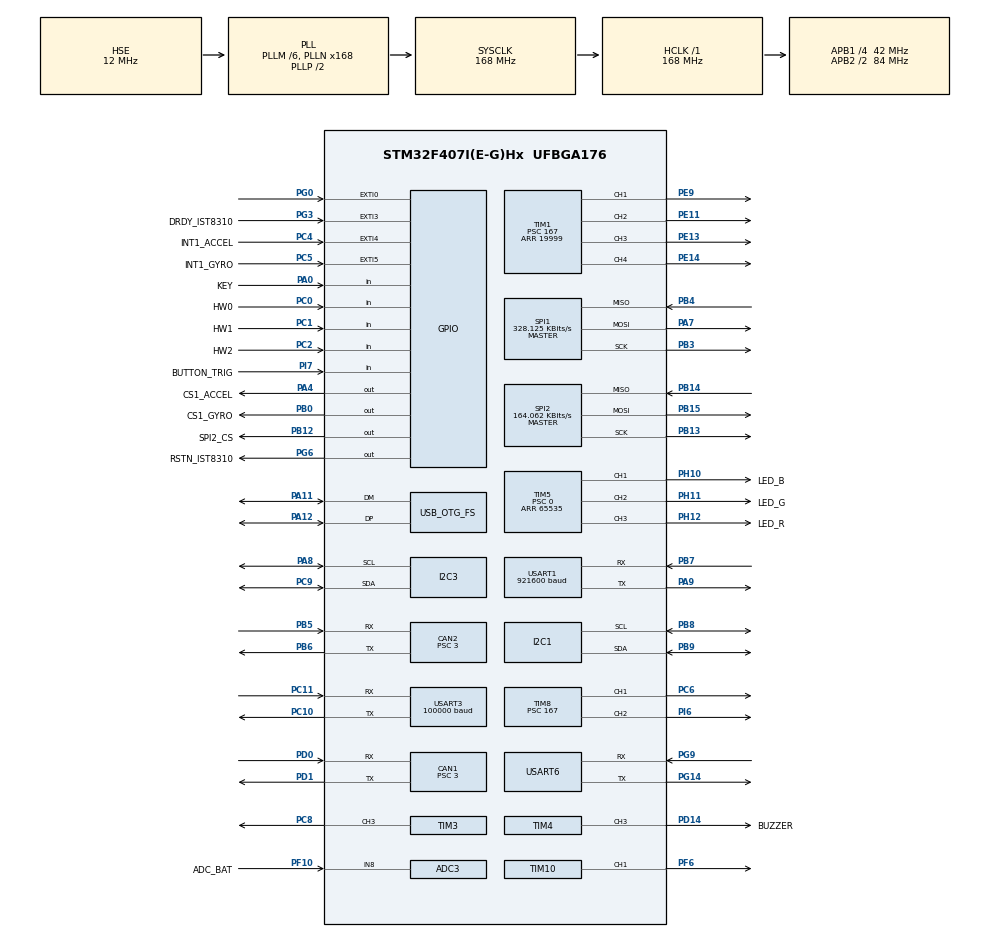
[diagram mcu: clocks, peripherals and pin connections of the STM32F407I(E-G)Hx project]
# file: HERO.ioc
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ADC1.Channel-0\#ChannelRegularConversion=ADC_CHANNEL_TEMPSENSOR
ADC1.ClockPrescaler=ADC_CLOCK_SYNC_PCLK_DIV6
ADC1.NbrOfConversionFlag=1
ADC1.Rank-0\#ChannelRegularConversion=1
ADC1.SamplingTime-0\#ChannelRegularConversion=ADC_SAMPLETIME_3CYCLES
ADC1.master=1
ADC3.Channel-0\#ChannelRegularConversion=ADC_CHANNEL_8
ADC3.ClockPrescaler=ADC_CLOCK_SYNC_PCLK_DIV6
ADC3.NbrOfConversionFlag=1
ADC3.Rank-0\#ChannelRegularConversion=1
ADC3.SamplingTime-0\#ChannelRegularConversion=ADC_SAMPLETIME_3CYCLES
CAN1.BS1=CAN_BS1_10TQ
CAN1.BS2=CAN_BS2_3TQ
CAN1.CalculateBaudRate=1000000
CAN1.CalculateTimeQuantum=71.42857142857143
CAN1.Prescaler=3
CAN2.BS1=CAN_BS1_10TQ
CAN2.BS2=CAN_BS2_3TQ
CAN2.CalculateBaudRate=1000000
CAN2.CalculateTimeQuantum=71.42857142857143
CAN2.Prescaler=3
Dma.Request0=SPI1_RX
Dma.Request1=SPI1_TX
Dma.Request2=USART3_RX
Dma.Request3=USART6_RX
Dma.Request4=USART6_TX
Dma.Request5=USART1_TX
Dma.Request6=USART1_RX
Dma.Request7=SPI2_RX
Dma.Request8=SPI2_TX
Dma.Request9=TIM4_CH3
Dma.SPI1_RX.0.Direction=DMA_PERIPH_TO_MEMORY
Dma.SPI1_RX.0.FIFOMode=DMA_FIFOMODE_DISABLE
Dma.SPI1_RX.0.Instance=DMA2_Stream2
Dma.SPI1_RX.0.MemDataAlignment=DMA_MDATAALIGN_BYTE
Dma.SPI1_RX.0.MemInc=DMA_MINC_ENABLE
Dma.SPI1_RX.0.Mode=DMA_NORMAL
Dma.SPI1_RX.0.PeriphDataAlignment=DMA_PDATAALIGN_BYTE
Dma.SPI1_RX.0.PeriphInc=DMA_PINC_DISABLE
Dma.SPI1_RX.0.Priority=DMA_PRIORITY_VERY_HIGH
Dma.SPI1_TX.1.Direction=DMA_MEMORY_TO_PERIPH
Dma.SPI1_TX.1.FIFOMode=DMA_FIFOMODE_DISABLE
Dma.SPI1_TX.1.Instance=DMA2_Stream3
Dma.SPI1_TX.1.MemDataAlignment=DMA_MDATAALIGN_BYTE
Dma.SPI1_TX.1.MemInc=DMA_MINC_ENABLE
Dma.SPI1_TX.1.Mode=DMA_NORMAL
Dma.SPI1_TX.1.PeriphDataAlignment=DMA_PDATAALIGN_BYTE
Dma.SPI1_TX.1.PeriphInc=DMA_PINC_DISABLE
Dma.SPI1_TX.1.Priority=DMA_PRIORITY_HIGH
Dma.SPI2_RX.7.Direction=DMA_PERIPH_TO_MEMORY
Dma.SPI2_RX.7.FIFOMode=DMA_FIFOMODE_DISABLE
Dma.SPI2_RX.7.Instance=DMA1_Stream3
Dma.SPI2_RX.7.MemDataAlignment=DMA_MDATAALIGN_BYTE
Dma.SPI2_RX.7.MemInc=DMA_MINC_ENABLE
Dma.SPI2_RX.7.Mode=DMA_NORMAL
Dma.SPI2_RX.7.PeriphDataAlignment=DMA_PDATAALIGN_BYTE
Dma.SPI2_RX.7.PeriphInc=DMA_PINC_DISABLE
Dma.SPI2_RX.7.Priority=DMA_PRIORITY_HIGH
Dma.SPI2_TX.8.Direction=DMA_MEMORY_TO_PERIPH
Dma.SPI2_TX.8.FIFOMode=DMA_FIFOMODE_DISABLE
Dma.SPI2_TX.8.Instance=DMA1_Stream4
Dma.SPI2_TX.8.MemDataAlignment=DMA_MDATAALIGN_BYTE
Dma.SPI2_TX.8.MemInc=DMA_MINC_ENABLE
Dma.SPI2_TX.8.Mode=DMA_NORMAL
Dma.SPI2_TX.8.PeriphDataAlignment=DMA_PDATAALIGN_BYTE
Dma.SPI2_TX.8.PeriphInc=DMA_PINC_DISABLE
Dma.SPI2_TX.8.Priority=DMA_PRIORITY_HIGH
Dma.TIM4_CH3.9.Direction=DMA_MEMORY_TO_PERIPH
Dma.TIM4_CH3.9.FIFOMode=DMA_FIFOMODE_DISABLE
Dma.TIM4_CH3.9.Instance=DMA1_Stream7
Dma.TIM4_CH3.9.MemDataAlignment=DMA_MDATAALIGN_HALFWORD
Dma.TIM4_CH3.9.MemInc=DMA_MINC_ENABLE
Dma.TIM4_CH3.9.Mode=DMA_CIRCULAR
Dma.TIM4_CH3.9.PeriphDataAlignment=DMA_PDATAALIGN_HALFWORD
Dma.TIM4_CH3.9.PeriphInc=DMA_PINC_DISABLE
Dma.TIM4_CH3.9.Priority=DMA_PRIORITY_HIGH
Dma.USART1_RX.6.Direction=DMA_PERIPH_TO_MEMORY
Dma.USART1_RX.6.FIFOMode=DMA_FIFOMODE_DISABLE
Dma.USART1_RX.6.Instance=DMA2_Stream5
Dma.USART1_RX.6.MemDataAlignment=DMA_MDATAALIGN_BYTE
Dma.USART1_RX.6.MemInc=DMA_MINC_ENABLE
Dma.USART1_RX.6.Mode=DMA_NORMAL
Dma.USART1_RX.6.PeriphDataAlignment=DMA_PDATAALIGN_BYTE
Dma.USART1_RX.6.PeriphInc=DMA_PINC_DISABLE
Dma.USART1_RX.6.Priority=DMA_PRIORITY_MEDIUM
Dma.USART1_TX.5.Direction=DMA_MEMORY_TO_PERIPH
Dma.USART1_TX.5.FIFOMode=DMA_FIFOMODE_DISABLE
Dma.USART1_TX.5.Instance=DMA2_Stream7
Dma.USART1_TX.5.MemDataAlignment=DMA_MDATAALIGN_BYTE
Dma.USART1_TX.5.MemInc=DMA_MINC_ENABLE
Dma.USART1_TX.5.Mode=DMA_NORMAL
Dma.USART1_TX.5.PeriphDataAlignment=DMA_PDATAALIGN_BYTE
Dma.USART1_TX.5.PeriphInc=DMA_PINC_DISABLE
Dma.USART1_TX.5.Priority=DMA_PRIORITY_MEDIUM
Dma.USART3_RX.2.Direction=DMA_PERIPH_TO_MEMORY
Dma.USART3_RX.2.FIFOMode=DMA_FIFOMODE_DISABLE
Dma.USART3_RX.2.Instance=DMA1_Stream1
Dma.USART3_RX.2.MemDataAlignment=DMA_MDATAALIGN_BYTE
Dma.USART3_RX.2.MemInc=DMA_MINC_ENABLE
Dma.USART3_RX.2.Mode=DMA_NORMAL
Dma.USART3_RX.2.PeriphDataAlignment=DMA_PDATAALIGN_BYTE
Dma.USART3_RX.2.PeriphInc=DMA_PINC_DISABLE
Dma.USART3_RX.2.Priority=DMA_PRIORITY_HIGH
Dma.USART6_RX.3.Direction=DMA_PERIPH_TO_MEMORY
Dma.USART6_RX.3.FIFOMode=DMA_FIFOMODE_DISABLE
Dma.USART6_RX.3.Instance=DMA2_Stream1
Dma.USART6_RX.3.MemDataAlignment=DMA_MDATAALIGN_BYTE
Dma.USART6_RX.3.MemInc=DMA_MINC_ENABLE
Dma.USART6_RX.3.Mode=DMA_NORMAL
Dma.USART6_RX.3.PeriphDataAlignment=DMA_PDATAALIGN_BYTE
Dma.USART6_RX.3.PeriphInc=DMA_PINC_DISABLE
Dma.USART6_RX.3.Priority=DMA_PRIORITY_HIGH
Dma.USART6_TX.4.Direction=DMA_MEMORY_TO_PERIPH
Dma.USART6_TX.4.FIFOMode=DMA_FIFOMODE_DISABLE
Dma.USART6_TX.4.Instance=DMA2_Stream6
Dma.USART6_TX.4.MemDataAlignment=DMA_MDATAALIGN_BYTE
Dma.USART6_TX.4.MemInc=DMA_MINC_ENABLE
Dma.USART6_TX.4.Mode=DMA_NORMAL
Dma.USART6_TX.4.PeriphDataAlignment=DMA_PDATAALIGN_BYTE
Dma.USART6_TX.4.PeriphInc=DMA_PINC_DISABLE
Dma.USART6_TX.4.Priority=DMA_PRIORITY_MEDIUM
FREERTOS.INCLUDE_eTaskGetState=1
FREERTOS.INCLUDE_pcTaskGetTaskName=1
FREERTOS.INCLUDE_uxTaskGetStackHighWaterMark=1
FREERTOS.INCLUDE_vTaskCleanUpResources=1
FREERTOS.INCLUDE_vTaskDelayUntil=1
FREERTOS.INCLUDE_xEventGroupSetBitFromISR=1
FREERTOS.INCLUDE_xQueueGetMutexHolder=1
FREERTOS.INCLUDE_xSemaphoreGetMutexHolder=1
FREERTOS.INCLUDE_xTaskAbortDelay=1
FREERTOS.INCLUDE_xTaskGetCurrentTaskHandle=1
FREERTOS.INCLUDE_xTaskGetHandle=1
FREERTOS.INCLUDE_xTimerPendFunctionCall=1
FREERTOS.Tasks01=test,24,128,test_task,As weak,NULL,Dynamic,NULL,NULL
FREERTOS.configTOTAL_HEAP_SIZE=40960
I2C1.I2C_Mode=I2C_Fast
I2C3.I2C_Mode=I2C_Fast
Mcu.Family=STM32F4
Mcu.Name=STM32F407I(E-G)Hx
Mcu.Package=UFBGA176
NVIC.CAN1_RX0_IRQn=true\:6\:0\:true\:false\:true\:true\:true\:true\:true
NVIC.CAN2_RX0_IRQn=true\:6\:0\:true\:false\:true\:true\:true\:true\:true
NVIC.DMA1_Stream1_IRQn=true\:5\:0\:true\:false\:false\:true\:false\:false\:true
NVIC.DMA1_Stream3_IRQn=true\:5\:0\:true\:false\:false\:true\:false\:true\:true
NVIC.DMA1_Stream4_IRQn=true\:5\:0\:true\:false\:false\:true\:false\:true\:true
NVIC.DMA1_Stream7_IRQn=true\:5\:0\:true\:false\:false\:true\:false\:true\:true
NVIC.DMA2_Stream1_IRQn=true\:5\:0\:true\:false\:true\:true\:false\:true\:true
NVIC.DMA2_Stream2_IRQn=true\:5\:0\:true\:false\:false\:true\:false\:true\:true
NVIC.DMA2_Stream3_IRQn=true\:5\:0\:true\:false\:false\:true\:false\:true\:true
NVIC.DMA2_Stream5_IRQn=true\:5\:0\:false\:false\:true\:true\:false\:true\:true
NVIC.DMA2_Stream6_IRQn=true\:5\:0\:true\:false\:true\:true\:false\:true\:true
NVIC.DMA2_Stream7_IRQn=true\:5\:0\:true\:false\:true\:true\:false\:true\:true
NVIC.EXTI0_IRQn=true\:6\:0\:true\:false\:true\:true\:true\:true\:true
NVIC.EXTI3_IRQn=true\:5\:0\:true\:false\:true\:true\:true\:true\:true
NVIC.EXTI4_IRQn=true\:5\:0\:true\:false\:true\:true\:true\:true\:true
NVIC.EXTI9_5_IRQn=true\:5\:0\:true\:false\:true\:true\:true\:true\:true
NVIC.OTG_FS_IRQn=true\:5\:0\:false\:false\:true\:true\:false\:true\:true
NVIC.PriorityGroup=NVIC_PRIORITYGROUP_4
NVIC.TIM6_DAC_IRQn=true\:15\:0\:false\:false\:true\:false\:false\:true\:true
NVIC.TimeBase=TIM6_DAC_IRQn
NVIC.TimeBaseIP=TIM6
NVIC.USART1_IRQn=true\:5\:0\:false\:false\:true\:true\:true\:true\:true
NVIC.USART3_IRQn=true\:4\:0\:true\:false\:false\:false\:true\:true\:true
NVIC.USART6_IRQn=true\:5\:0\:true\:false\:false\:true\:true\:true\:true
PA0-WKUP.GPIO_Label=KEY
PA0-WKUP.GPIO_PuPd=GPIO_PULLUP
PA0-WKUP.Signal=GPIO_Input
PA11.Mode=Device_Only
PA11.Signal=USB_OTG_FS_DM
PA12.Mode=Device_Only
PA12.Signal=USB_OTG_FS_DP
PA13.Mode=Serial_Wire
PA13.Signal=SYS_JTMS-SWDIO
PA14.Mode=Serial_Wire
PA14.Signal=SYS_JTCK-SWCLK
PA4.GPIO_Label=CS1_ACCEL
PA4.GPIO_PuPd=GPIO_PULLUP
PA4.GPIO_Speed=GPIO_SPEED_FREQ_HIGH
PA4.PinState=GPIO_PIN_SET
PA4.Signal=GPIO_Output
PA7.GPIO_PuPd=GPIO_PULLUP
PA7.Mode=Full_Duplex_Master
PA7.Signal=SPI1_MOSI
PA8.GPIO_Pu=GPIO_PULLUP
PA8.Mode=I2C
PA8.Signal=I2C3_SCL
PA9.Mode=Asynchronous
PA9.Signal=USART1_TX
PB0.GPIO_Label=CS1_GYRO
PB0.GPIO_PuPd=GPIO_PULLUP
PB0.GPIO_Speed=GPIO_SPEED_FREQ_HIGH
PB0.PinState=GPIO_PIN_SET
PB0.Signal=GPIO_Output
PB12.GPIO_Label=SPI2_CS
PB12.GPIO_PuPd=GPIO_PULLUP
PB12.GPIO_Speed=GPIO_SPEED_FREQ_MEDIUM
PB12.PinState=GPIO_PIN_SET
PB12.Signal=GPIO_Output
PB13.GPIO_PuPd=GPIO_PULLUP
PB13.Mode=Full_Duplex_Master
PB13.Signal=SPI2_SCK
PB14.GPIO_PuPd=GPIO_PULLUP
PB14.Mode=Full_Duplex_Master
PB14.Signal=SPI2_MISO
PB15.GPIO_PuPd=GPIO_PULLUP
PB15.Mode=Full_Duplex_Master
PB15.Signal=SPI2_MOSI
PB3.GPIO_PuPd=GPIO_PULLUP
PB3.Mode=Full_Duplex_Master
PB3.Signal=SPI1_SCK
PB4.GPIO_PuPd=GPIO_PULLUP
PB4.Mode=Full_Duplex_Master
PB4.Signal=SPI1_MISO
PB5.Mode=CAN_Activate
PB5.Signal=CAN2_RX
PB6.Mode=CAN_Activate
PB6.Signal=CAN2_TX
PB7.Mode=Asynchronous
PB7.Signal=USART1_RX
PB8.GPIO_Pu=GPIO_PULLUP
PB8.Mode=I2C
PB8.Signal=I2C1_SCL
PB9.GPIO_Pu=GPIO_PULLUP
PB9.Mode=I2C
PB9.Signal=I2C1_SDA
PC0.GPIO_Label=HW0
PC0.Signal=GPIO_Input
PC1.GPIO_Label=HW1
PC1.Signal=GPIO_Input
PC10.Mode=Asynchronous
PC10.Signal=USART3_TX
PC11.Mode=Asynchronous
PC11.Signal=USART3_RX
PC2.GPIO_Label=HW2
PC2.Signal=GPIO_Input
PC4.GPIO_Label=INT1_ACCEL
PC4.GPIO_ModeDefaultEXTI=GPIO_MODE_IT_FALLING
PC4.GPIO_PuPd=GPIO_PULLUP
PC4.Signal=GPXTI4
PC5.GPIO_Label=INT1_GYRO
PC5.GPIO_ModeDefaultEXTI=GPIO_MODE_IT_FALLING
PC5.GPIO_PuPd=GPIO_PULLUP
PC5.Signal=GPXTI5
PC6.GPIO_PuPd=GPIO_PULLUP
PC6.GPIO_Speed=GPIO_SPEED_FREQ_HIGH
PC6.Signal=S_TIM8_CH1
PC8.GPIO_PuPd=GPIO_PULLUP
PC8.GPIO_Speed=GPIO_SPEED_FREQ_HIGH
PC8.Signal=S_TIM3_CH3
PC9.GPIO_Pu=GPIO_PULLUP
PC9.Mode=I2C
PC9.Signal=I2C3_SDA
PD0.Mode=CAN_Activate
PD0.Signal=CAN1_RX
PD1.Mode=CAN_Activate
PD1.Signal=CAN1_TX
PD14.GPIO_Label=BUZZER
PD14.GPIO_PuPd=GPIO_PULLUP
PD14.GPIO_Speed=GPIO_SPEED_FREQ_VERY_HIGH
PD14.Signal=S_TIM4_CH3
PE11.GPIO_PuPd=GPIO_PULLUP
PE11.GPIO_Speed=GPIO_SPEED_FREQ_HIGH
PE11.Signal=S_TIM1_CH2
PE13.GPIO_PuPd=GPIO_PULLUP
PE13.GPIO_Speed=GPIO_SPEED_FREQ_HIGH
PE13.Signal=S_TIM1_CH3
PE14.GPIO_PuPd=GPIO_PULLUP
PE14.GPIO_Speed=GPIO_SPEED_FREQ_HIGH
PE14.Signal=S_TIM1_CH4
PE9.GPIO_PuPd=GPIO_PULLUP
PE9.GPIO_Speed=GPIO_SPEED_FREQ_HIGH
PE9.Signal=S_TIM1_CH1
PF10.GPIO_Label=ADC_BAT
PF10.Mode=IN8
PF10.Signal=ADC3_IN8
PF6.GPIO_PuPd=GPIO_PULLUP
PF6.GPIO_Speed=GPIO_SPEED_FREQ_HIGH
PF6.Signal=S_TIM10_CH1
PG0.GPIO_ModeDefaultEXTI=GPIO_MODE_IT_FALLING
PG0.GPIO_PuPd=GPIO_PULLUP
PG0.Signal=GPXTI0
PG14.Mode=Asynchronous
PG14.Signal=USART6_TX
PG3.GPIO_Label=DRDY_IST8310
PG3.GPIO_ModeDefaultEXTI=GPIO_MODE_IT_FALLING
PG3.GPIO_PuPd=GPIO_PULLUP
PG3.Signal=GPXTI3
PG6.GPIO_Label=RSTN_IST8310
PG6.GPIO_PuPd=GPIO_PULLUP
PG6.GPIO_Speed=GPIO_SPEED_FREQ_MEDIUM
PG6.PinState=GPIO_PIN_SET
PG6.Signal=GPIO_Output
PG9.Mode=Asynchronous
PG9.Signal=USART6_RX
PH0-OSC_IN.Mode=HSE-External-Oscillator
PH0-OSC_IN.Signal=RCC_OSC_IN
PH1-OSC_OUT.Mode=HSE-External-Oscillator
PH1-OSC_OUT.Signal=RCC_OSC_OUT
PH10.GPIO_Label=LED_B
PH10.GPIO_PuPd=GPIO_PULLUP
PH10.GPIO_Speed=GPIO_SPEED_FREQ_HIGH
PH10.Signal=S_TIM5_CH1
PH11.GPIO_Label=LED_G
PH11.GPIO_PuPd=GPIO_PULLUP
PH11.GPIO_Speed=GPIO_SPEED_FREQ_HIGH
PH11.Signal=S_TIM5_CH2
PH12.GPIO_Label=LED_R
PH12.GPIO_PuPd=GPIO_PULLUP
PH12.GPIO_Speed=GPIO_SPEED_FREQ_HIGH
PH12.Signal=S_TIM5_CH3
PI6.GPIO_PuPd=GPIO_PULLUP
PI6.GPIO_Speed=GPIO_SPEED_FREQ_HIGH
PI6.Signal=S_TIM8_CH2
PI7.GPIO_Label=BUTTON_TRIG
PI7.GPIO_PuPd=GPIO_PULLUP
PI7.Signal=GPIO_Input
ProjectManager.HeapSize=0x2000
ProjectManager.StackSize=0x2000
ProjectManager.TargetToolchain=MDK-ARM V5
RCC.48MHZClocksFreq_Value=48000000
RCC.AHBFreq_Value=168000000
RCC.APB1CLKDivider=RCC_HCLK_DIV4
RCC.APB1Freq_Value=42000000
RCC.APB1TimFreq_Value=84000000
RCC.APB2CLKDivider=RCC_HCLK_DIV2
RCC.APB2Freq_Value=84000000
RCC.APB2TimFreq_Value=168000000
RCC.CortexFreq_Value=168000000
RCC.HCLKFreq_Value=168000000
RCC.HSE_VALUE=12000000
RCC.HSI_VALUE=16000000
RCC.LSE_VALUE=32768
RCC.PLLM=6
RCC.PLLN=168
RCC.PLLQ=7
RCC.SYSCLKFreq_VALUE=168000000
RCC.SYSCLKSource=RCC_SYSCLKSOURCE_PLLCLK
RCC.VCOOutputFreq_Value=336000000
SH.S_TIM10_CH1.0=TIM10_CH1,PWM Generation1 CH1
SH.S_TIM1_CH1.0=TIM1_CH1,PWM Generation1 CH1
SH.S_TIM1_CH2.0=TIM1_CH2,PWM Generation2 CH2
SH.S_TIM1_CH3.0=TIM1_CH3,PWM Generation3 CH3
SH.S_TIM1_CH4.0=TIM1_CH4,PWM Generation4 CH4
SH.S_TIM3_CH3.0=TIM3_CH3,PWM Generation3 CH3
SH.S_TIM4_CH3.0=TIM4_CH3,PWM Generation3 CH3
SH.S_TIM5_CH1.0=TIM5_CH1,PWM Generation1 CH1
SH.S_TIM5_CH2.0=TIM5_CH2,PWM Generation2 CH2
SH.S_TIM5_CH3.0=TIM5_CH3,PWM Generation3 CH3
SH.S_TIM8_CH1.0=TIM8_CH1,PWM Generation1 CH1
SH.S_TIM8_CH2.0=TIM8_CH2,PWM Generation2 CH2
SPI1.BaudRatePrescaler=SPI_BAUDRATEPRESCALER_256
SPI1.CLKPhase=SPI_PHASE_2EDGE
SPI1.CLKPolarity=SPI_POLARITY_HIGH
SPI1.CalculateBaudRate=328.125 KBits/s
SPI1.Direction=SPI_DIRECTION_2LINES
SPI1.Mode=SPI_MODE_MASTER
SPI1.VirtualType=VM_MASTER
SPI2.BaudRatePrescaler=SPI_BAUDRATEPRESCALER_256
SPI2.CLKPhase=SPI_PHASE_1EDGE
SPI2.CLKPolarity=SPI_POLARITY_LOW
SPI2.CalculateBaudRate=164.062 KBits/s
SPI2.Direction=SPI_DIRECTION_2LINES
SPI2.Mode=SPI_MODE_MASTER
SPI2.VirtualType=VM_MASTER
TIM1.Channel-PWM\ Generation1\ CH1=TIM_CHANNEL_1
TIM1.Channel-PWM\ Generation2\ CH2=TIM_CHANNEL_2
TIM1.Channel-PWM\ Generation3\ CH3=TIM_CHANNEL_3
TIM1.Channel-PWM\ Generation4\ CH4=TIM_CHANNEL_4
TIM1.Period=19999
TIM1.Prescaler=167
TIM1.Pulse-PWM\ Generation1\ CH1=1000
TIM1.Pulse-PWM\ Generation2\ CH2=1000
TIM1.Pulse-PWM\ Generation3\ CH3=1000
TIM1.Pulse-PWM\ Generation4\ CH4=1000
TIM10.Channel=TIM_CHANNEL_1
TIM10.Period=4999
TIM3.Channel-PWM\ Generation3\ CH3=TIM_CHANNEL_3
TIM3.Period=8399
TIM4.Channel-PWM\ Generation3\ CH3=TIM_CHANNEL_3
TIM4.Period=20999
TIM4.Prescaler=0
TIM5.Channel-PWM\ Generation1\ CH1=TIM_CHANNEL_1
TIM5.Channel-PWM\ Generation2\ CH2=TIM_CHANNEL_2
TIM5.Channel-PWM\ Generation3\ CH3=TIM_CHANNEL_3
TIM5.Period=65535
TIM5.Prescaler=0
TIM8.Channel-PWM\ Generation1\ CH1=TIM_CHANNEL_1
TIM8.Channel-PWM\ Generation2\ CH2=TIM_CHANNEL_2
TIM8.Period=19999
TIM8.Prescaler=167
TIM8.Pulse-PWM\ Generation1\ CH1=1000
TIM8.Pulse-PWM\ Generation2\ CH2=1000
USART1.BaudRate=921600
USART1.VirtualMode=VM_ASYNC
USART3.BaudRate=100000
USART3.Parity=PARITY_EVEN
USART3.VirtualMode=VM_ASYNC
USART6.VirtualMode=VM_ASYNC
USB_DEVICE.CLASS_NAME_FS=CDC
USB_DEVICE.VirtualMode-CDC_FS=Cdc
USB_DEVICE.VirtualModeFS=Cdc_FS
USB_OTG_FS.VirtualMode=Device_Only
VP_ADC1_TempSens_Input.Mode=IN-TempSens
VP_ADC1_Vref_Input.Mode=IN-Vrefint
VP_CRC_VS_CRC.Mode=CRC_Activate
VP_FREERTOS_VS_CMSIS_V1.Mode=CMSIS_V1
VP_SYS_VS_tim6.Mode=TIM6
VP_TIM10_VS_ClockSourceINT.Mode=Enable_Timer
VP_TIM1_VS_ClockSourceINT.Mode=Internal
VP_TIM3_VS_ClockSourceINT.Mode=Internal
VP_TIM4_VS_ClockSourceINT.Mode=Internal
VP_TIM5_VS_ClockSourceINT.Mode=Internal
VP_TIM8_VS_ClockSourceINT.Mode=Internal
VP_USB_DEVICE_VS_USB_DEVICE_CDC_FS.Mode=CDC_FS
board=custom

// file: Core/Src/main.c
/* USER CODE BEGIN Header */
/**
  ******************************************************************************
  * @file           : main.c
  * @brief          : Main program body
  ******************************************************************************
  * @attention
  *
  * <h2><center>&copy; Copyright (c) 2019 STMicroelectronics.
  * All rights reserved.</center></h2>
  *
  * This software component is licensed by ST under Ultimate Liberty license
  * SLA0044, the "License"; You may not use this file except in compliance with
  * the License. You may obtain a copy of the License at:
  *                             www.st.com/SLA0044
  *
  ******************************************************************************
  */
/* USER CODE END Header */
#include "main.h"
#include "cmsis_os.h"
#include "adc.h"
#include "can.h"
#include "crc.h"
#include "dma.h"
#include "i2c.h"
#include "spi.h"
#include "tim.h"
#include "usart.h"
#include "usb_device.h"
#include "gpio.h"

/* USER CODE BEGIN Includes */
#include "bsp_can.h"
#include "bsp_delay.h"
#include "bsp_buzzer.h"
#include "bsp_usart.h"
#include "config.h"
#include "manual_input.h"

#include "calibrate_task.h"
#include "chassis_control_task.h"
#include "detect_task.h"
#include "gimbal_control_task.h"
#include "INS_task.h"
#include "status_led_task.h"
#include "referee_rx_task.h"
#include "host_link_task.h"
#include "battery_monitor_task.h"
/* USER CODE END Includes */

void SystemClock_Config(void);
void MX_FREERTOS_Init(void);

int main(void)
{

  /* MCU Configuration--------------------------------------------------------*/

  /* Reset of all peripherals, Initializes the Flash interface and the Systick. */
  HAL_Init();

  /* Configure the system clock */
  SystemClock_Config();

  /* Initialize all configured peripherals */
  MX_GPIO_Init();
  MX_DMA_Init();
  MX_ADC1_Init();
  MX_ADC3_Init();
  MX_CAN1_Init();
  MX_CAN2_Init();
  MX_I2C1_Init();
  MX_SPI1_Init();
  MX_TIM4_Init();
  MX_TIM5_Init();
  MX_USART3_UART_Init();
  MX_TIM8_Init();
  MX_CRC_Init();
  MX_I2C3_Init();
  MX_SPI2_Init();
  MX_TIM1_Init();
  MX_TIM3_Init();
  MX_TIM10_Init();
  MX_USART1_UART_Init();
  MX_USART6_UART_Init();
  /* USER CODE BEGIN 2 */
    can_filter_init();
    delay_init();
    cali_param_init();
    // Apply runtime config for BSP modules (BSP must not depend on g_config).
    buzzer_set_enable(g_config.buzzer.enable);
    buzzer_pcm_set_carrier_min_hz(g_config.buzzer.pcm.carrier_min_hz);
    buzzer_pcm_set_stream_gain_q8(g_config.buzzer.pcm.gain_q8);
    remote_control_init();
    usart1_tx_dma_init();
  /* USER CODE END 2 */

  /* Call init function for freertos objects (in cmsis_os2.c) */
  MX_FREERTOS_Init();

  /* Start scheduler */
  osKernelStart();

  /* We should never get here as control is now taken by the scheduler */

  /* Infinite loop */
  while (1)
  {

  }
}

void SystemClock_Config(void)
{
  RCC_OscInitTypeDef RCC_OscInitStruct = {0};
  RCC_ClkInitTypeDef RCC_ClkInitStruct = {0};

  /** Configure the main internal regulator output voltage
  */
  __HAL_RCC_PWR_CLK_ENABLE();
  __HAL_PWR_VOLTAGESCALING_CONFIG(PWR_REGULATOR_VOLTAGE_SCALE1);

  /** Initializes the RCC Oscillators according to the specified parameters
  * in the RCC_OscInitTypeDef structure.
  */
  RCC_OscInitStruct.OscillatorType = RCC_OSCILLATORTYPE_HSE;
  RCC_OscInitStruct.HSEState = RCC_HSE_ON;
  RCC_OscInitStruct.PLL.PLLState = RCC_PLL_ON;
  RCC_OscInitStruct.PLL.PLLSource = RCC_PLLSOURCE_HSE;
  RCC_OscInitStruct.PLL.PLLM = 6;
  RCC_OscInitStruct.PLL.PLLN = 168;
  RCC_OscInitStruct.PLL.PLLP = RCC_PLLP_DIV2;
  RCC_OscInitStruct.PLL.PLLQ = 7;
  if (HAL_RCC_OscConfig(&RCC_OscInitStruct) != HAL_OK)
  {
    Error_Handler();
  }

  /** Initializes the CPU, AHB and APB buses clocks
  */
  RCC_ClkInitStruct.ClockType = RCC_CLOCKTYPE_HCLK|RCC_CLOCKTYPE_SYSCLK
                              |RCC_CLOCKTYPE_PCLK1|RCC_CLOCKTYPE_PCLK2;
  RCC_ClkInitStruct.SYSCLKSource = RCC_SYSCLKSOURCE_PLLCLK;
  RCC_ClkInitStruct.AHBCLKDivider = RCC_SYSCLK_DIV1;
  RCC_ClkInitStruct.APB1CLKDivider = RCC_HCLK_DIV4;
  RCC_ClkInitStruct.APB2CLKDivider = RCC_HCLK_DIV2;

  if (HAL_RCC_ClockConfig(&RCC_ClkInitStruct, FLASH_LATENCY_5) != HAL_OK)
  {
    Error_Handler();
  }
}

void HAL_TIM_PeriodElapsedCallback(TIM_HandleTypeDef *htim)
{
  if (htim->Instance == TIM6)
  {
    HAL_IncTick();
  }
}

void Error_Handler(void)
{
}

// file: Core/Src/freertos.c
/* USER CODE BEGIN Header */
/**
  ******************************************************************************
  * File Name          : freertos.c
  * Description        : Code for freertos applications
  ******************************************************************************
  * @attention
  *
  * <h2><center>&copy; Copyright (c) 2019 STMicroelectronics.
  * All rights reserved.</center></h2>
  *
  * This software component is licensed by ST under Ultimate Liberty license
  * SLA0044, the "License"; You may not use this file except in compliance with
  * the License. You may obtain a copy of the License at:
  *                             www.st.com/SLA0044
  *
  ******************************************************************************
  */
/* USER CODE END Header */

#include "FreeRTOS.h"
#include "task.h"
#include "main.h"
#include "cmsis_os.h"

/* USER CODE BEGIN Includes */

#include "calibrate_task.h"
#include "can_command_tx_task.h"
#include "can_feedback_rx_task.h"
#include "chassis_control_task.h"
#include "detect_task.h"
#include "gimbal_control_task.h"
#include "INS_task.h"
#include "status_led_task.h"
#include "rc_sbus_task.h"
#include "referee_rx_task.h"
#include "host_link_task.h"
#include "elrs_task.h"
#include "battery_monitor_task.h"
#include "servo_control_task.h"
#include "sdlog_task.h"
#include "startup_service_task.h"
#include "watch.h"
/* USER CODE END Includes */

/* USER CODE BEGIN PTD */

osThreadId calibrate_tast_handle;
osThreadId can_command_tx_task_handle;
osThreadId can_feedback_rx_task_handle;
osThreadId chassisTaskHandle;
osThreadId detect_handle;
osThreadId gimbalTaskHandle;
osThreadId imuTaskHandle;
osThreadId led_RGB_flow_handle;
osThreadId rc_sbus_task_handle;
osThreadId referee_rx_task_handle;
osThreadId host_link_task_handle;
osThreadId uart1_elrs_thread_handle;
osThreadId battery_voltage_handle;
osThreadId servo_control_task_handle;
osThreadId sdlog_task_handle;

/* USER CODE END PTD */

/* USER CODE BEGIN Variables */

/* FreeRTOS heap storage.
 * - Placed in CCM RAM to save main SRAM (0x2000_0000) for DMA-capable buffers.
 * - IMPORTANT: CCM is CPU-only; do not use pvPortMalloc() for DMA buffers. */
#if (configAPPLICATION_ALLOCATED_HEAP == 1)
__attribute__((section(".ccmram"))) __attribute__((aligned(8))) uint8_t ucHeap[configTOTAL_HEAP_SIZE];
#endif

/* USER CODE END Variables */
osThreadId startupHandle;

void startup_service_task(void const * argument);

extern void MX_USB_DEVICE_Init(void);
void MX_FREERTOS_Init(void); /* (MISRA C 2004 rule 8.1) */

#define APP_STATIC_THREAD(name, entry, priority, stack_words) \
  static StaticTask_t name##_tcb; \
  static StackType_t name##_stack[(stack_words)]; \
  osThreadStaticDef(name, entry, priority, 0, stack_words, name##_stack, &name##_tcb)

APP_STATIC_THREAD(startup, startup_service_task, osPriorityNormal, 512);
APP_STATIC_THREAD(cali, calibrate_task, osPriorityNormal, 512);
APP_STATIC_THREAD(ChassisTask, chassis_control_task, osPriorityAboveNormal, 512);
APP_STATIC_THREAD(CANTX, can_command_tx_task, osPriorityAboveNormal, 256);
APP_STATIC_THREAD(CANRX, can_feedback_rx_task, osPriorityHigh, 256);
APP_STATIC_THREAD(RCSBUS, rc_sbus_task, osPriorityAboveNormal, 256);
APP_STATIC_THREAD(DETECT, detect_task, osPriorityNormal, 256);
APP_STATIC_THREAD(gimbalTask, gimbal_control_task, osPriorityHigh, 1024);
APP_STATIC_THREAD(imuTask, INS_task, osPriorityRealtime, 1024);
APP_STATIC_THREAD(led, status_led_task, osPriorityNormal, 256);
APP_STATIC_THREAD(REFEREE, referee_rx_task, osPriorityNormal, 128);
APP_STATIC_THREAD(USBTask, host_link_task, osPriorityNormal, 128);
APP_STATIC_THREAD(UART1_ELRS, uart1_elrs_task, osPriorityAboveNormal, 256);
APP_STATIC_THREAD(BATTERY_VOLTAGE, battery_monitor_task, osPriorityNormal, 128);
APP_STATIC_THREAD(SERVO, servo_control_task, osPriorityNormal, 128);
APP_STATIC_THREAD(SDLOG, sdlog_task, osPriorityLow, 512);

/* GetIdleTaskMemory prototype (linked to static allocation support) */
void vApplicationGetIdleTaskMemory( StaticTask_t **ppxIdleTaskTCBBuffer, StackType_t **ppxIdleTaskStackBuffer, uint32_t *pulIdleTaskStackSize );

/* GetTimerTaskMemory prototype (linked to static allocation support) */
void vApplicationGetTimerTaskMemory( StaticTask_t **ppxTimerTaskTCBBuffer, StackType_t **ppxTimerTaskStackBuffer, uint32_t *pulTimerTaskStackSize );

/* USER CODE BEGIN GET_IDLE_TASK_MEMORY */
static StaticTask_t xIdleTaskTCBBuffer;
static StackType_t xIdleStack[configMINIMAL_STACK_SIZE];

void vApplicationGetIdleTaskMemory( StaticTask_t **ppxIdleTaskTCBBuffer, StackType_t **ppxIdleTaskStackBuffer, uint32_t *pulIdleTaskStackSize )
{
  *ppxIdleTaskTCBBuffer = &xIdleTaskTCBBuffer;
  *ppxIdleTaskStackBuffer = &xIdleStack[0];
  *pulIdleTaskStackSize = configMINIMAL_STACK_SIZE;
  /* place for user code */
}
/* USER CODE END GET_IDLE_TASK_MEMORY */

/* USER CODE BEGIN GET_TIMER_TASK_MEMORY */
static StaticTask_t xTimerTaskTCBBuffer;
static StackType_t xTimerStack[configTIMER_TASK_STACK_DEPTH];

void vApplicationGetTimerTaskMemory( StaticTask_t **ppxTimerTaskTCBBuffer, StackType_t **ppxTimerTaskStackBuffer, uint32_t *pulTimerTaskStackSize )
{
  *ppxTimerTaskTCBBuffer = &xTimerTaskTCBBuffer;
  *ppxTimerTaskStackBuffer = &xTimerStack[0];
  *pulTimerTaskStackSize = configTIMER_TASK_STACK_DEPTH;
  /* place for user code */
}
/* USER CODE END GET_TIMER_TASK_MEMORY */

void MX_FREERTOS_Init(void) {

  /* Create the thread(s) */
  /* definition and creation of startup */
  // CubeMX default thread: runs MX_USB_DEVICE_Init().
  // USB init uses noticeable stack; keep this larger to avoid overflow.
  startupHandle = osThreadCreate(osThread(startup), NULL);

  /* USER CODE BEGIN RTOS_THREADS */
  /* add threads, ... */
    calibrate_tast_handle = osThreadCreate(osThread(cali), NULL);

    chassisTaskHandle = osThreadCreate(osThread(ChassisTask), NULL);

    can_command_tx_task_handle = osThreadCreate(osThread(CANTX), NULL);

    // CAN RX dispatcher: consume ISR ring, update motor measures and offline detect.
    can_feedback_rx_task_handle = osThreadCreate(osThread(CANRX), NULL);

    // USART3 SBUS/DBUS RX: consume ISR ring, parse frames, update RC_ctrl_t.
    rc_sbus_task_handle = osThreadCreate(osThread(RCSBUS), NULL);

    detect_handle = osThreadCreate(osThread(DETECT), NULL);

    gimbalTaskHandle = osThreadCreate(osThread(gimbalTask), NULL);

    imuTaskHandle = osThreadCreate(osThread(imuTask), NULL);

    led_RGB_flow_handle = osThreadCreate(osThread(led), NULL);

    referee_rx_task_handle = osThreadCreate(osThread(REFEREE), NULL);

    host_link_task_handle = osThreadCreate(osThread(USBTask), NULL);

    // UART1 ELRS(CRSF) RX: high-priority, interrupt-driven parser (updates RC_ctrl_t).
    uart1_elrs_thread_handle = osThreadCreate(osThread(UART1_ELRS), NULL);

    battery_voltage_handle = osThreadCreate(osThread(BATTERY_VOLTAGE), NULL);

    servo_control_task_handle = osThreadCreate(osThread(SERVO), NULL);

    // TF/SD logger: low priority, flush buffered binary records to FatFs.
    sdlog_task_handle = osThreadCreate(osThread(SDLOG), NULL);

  /* USER CODE END RTOS_THREADS */

}

/* USER CODE BEGIN Header_startup_service_task */
/**
  * @brief  Function implementing the startup service thread.
  * @param  argument: Not used
  * @retval None
  */
/* USER CODE END Header_startup_service_task */
__weak void startup_service_task(void const * argument)
{
  /* init code for USB_DEVICE */
  MX_USB_DEVICE_Init();
  for(;;)
  {
    osDelay(1);
  }
}

/* USER CODE BEGIN Application */
void vApplicationStackOverflowHook(TaskHandle_t xTask, char *pcTaskName)
{
  (void)xTask;

  g_watch.rtos.fatal_reason = 1U;
  g_watch.rtos.fatal_task_handle = (uint32_t)xTask;
  for (uint32_t i = 0; i < (uint32_t)sizeof(g_watch.rtos.fatal_task_name); i++)
  {
    const char c = (pcTaskName != NULL) ? pcTaskName[i] : '\0';
    g_watch.rtos.fatal_task_name[i] = c;
    if (c == '\0')
    {
      break;
    }
  }
  g_watch.rtos.fatal_task_name[sizeof(g_watch.rtos.fatal_task_name) - 1] = '\0';

  if ((CoreDebug->DHCSR & CoreDebug_DHCSR_C_DEBUGEN_Msk) != 0U)
  {
    __BKPT(0);
  }

  taskDISABLE_INTERRUPTS();
  for (;;)
  {
    __NOP();
  }
}

void vApplicationMallocFailedHook(void)
{
  g_watch.rtos.fatal_reason = 2U;
  g_watch.rtos.fatal_task_handle = (uint32_t)xTaskGetCurrentTaskHandle();
  {
    const char *name = pcTaskGetTaskName(NULL);
    for (uint32_t i = 0; i < (uint32_t)sizeof(g_watch.rtos.fatal_task_name); i++)
    {
      const char c = (name != NULL) ? name[i] : '\0';
      g_watch.rtos.fatal_task_name[i] = c;
      if (c == '\0')
      {
        break;
      }
    }
    g_watch.rtos.fatal_task_name[sizeof(g_watch.rtos.fatal_task_name) - 1] = '\0';
  }

  if ((CoreDebug->DHCSR & CoreDebug_DHCSR_C_DEBUGEN_Msk) != 0U)
  {
    __BKPT(0);
  }

  taskDISABLE_INTERRUPTS();
  for (;;)
  {
    __NOP();
  }
}

/* USER CODE END Application */
